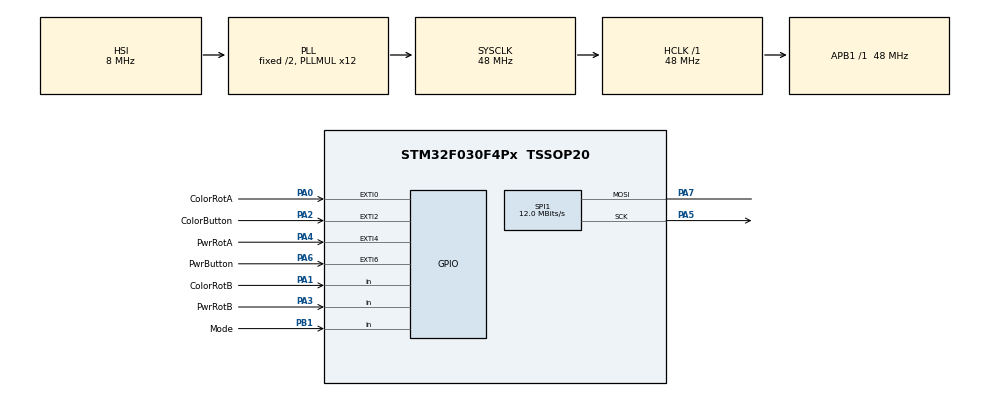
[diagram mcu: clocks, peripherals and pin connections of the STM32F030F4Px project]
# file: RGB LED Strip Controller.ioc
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Dma.Request0=SPI1_TX
Dma.SPI1_TX.0.Direction=DMA_MEMORY_TO_PERIPH
Dma.SPI1_TX.0.Instance=DMA1_Channel3
Dma.SPI1_TX.0.MemDataAlignment=DMA_MDATAALIGN_BYTE
Dma.SPI1_TX.0.MemInc=DMA_MINC_ENABLE
Dma.SPI1_TX.0.Mode=DMA_NORMAL
Dma.SPI1_TX.0.PeriphDataAlignment=DMA_PDATAALIGN_BYTE
Dma.SPI1_TX.0.PeriphInc=DMA_PINC_DISABLE
Dma.SPI1_TX.0.Priority=DMA_PRIORITY_HIGH
Mcu.Family=STM32F0
Mcu.Name=STM32F030F4Px
Mcu.Package=TSSOP20
NVIC.DMA1_Channel2_3_IRQn=true\:0\:0\:false\:false\:true\:true
NVIC.EXTI0_1_IRQn=true\:0\:0\:false\:false\:true\:true
NVIC.EXTI2_3_IRQn=true\:0\:0\:false\:false\:true\:true
NVIC.EXTI4_15_IRQn=true\:0\:0\:false\:false\:true\:true
PA0.GPIO_Label=ColorRotA
PA0.GPIO_ModeDefaultEXTI=GPIO_MODE_IT_RISING
PA0.Signal=GPXTI0
PA1.GPIO_Label=ColorRotB
PA1.Signal=GPIO_Input
PA13.Mode=Serial_Wire
PA13.Signal=SYS_SWDIO
PA14.Mode=Serial_Wire
PA14.Signal=SYS_SWCLK
PA2.GPIO_Label=ColorButton
PA2.GPIO_ModeDefaultEXTI=GPIO_MODE_IT_RISING
PA2.Signal=GPXTI2
PA3.GPIO_Label=PwrRotB
PA3.Signal=GPIO_Input
PA4.GPIO_Label=PwrRotA
PA4.GPIO_ModeDefaultEXTI=GPIO_MODE_IT_RISING
PA4.Signal=GPXTI4
PA5.Mode=Simplex_Bidirectional_Master
PA5.Signal=SPI1_SCK
PA6.GPIO_Label=PwrButton
PA6.Signal=GPXTI6
PA7.Mode=Simplex_Bidirectional_Master
PA7.Signal=SPI1_MOSI
PB1.GPIO_Label=Mode
PB1.Signal=GPIO_Input
ProjectManager.HeapSize=0x400
ProjectManager.StackSize=0x200
ProjectManager.TargetToolchain=MDK-ARM V5
RCC.AHBFreq_Value=48000000
RCC.APB1Freq_Value=48000000
RCC.APB1TimFreq_Value=48000000
RCC.HCLKFreq_Value=48000000
RCC.PLLMUL=RCC_PLL_MUL12
RCC.SYSCLKFreq_VALUE=48000000
RCC.SYSCLKSource=RCC_SYSCLKSOURCE_PLLCLK
SPI1.BaudRatePrescaler=SPI_BAUDRATEPRESCALER_4
SPI1.CalculateBaudRate=12.0 MBits/s
SPI1.DataSize=SPI_DATASIZE_8BIT
SPI1.Direction=SPI_DIRECTION_1LINE
SPI1.Mode=SPI_MODE_MASTER
SPI1.NSSPMode=SPI_NSS_PULSE_DISABLE
SPI1.VirtualType=VM_MASTER
board=RGB LED Strip Controller

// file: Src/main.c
/* USER CODE BEGIN Header */
/**
  ******************************************************************************
  * @file           : main.c
  * @brief          : Main program body
  ******************************************************************************
  ** This notice applies to any and all portions of this file
  * that are not between comment pairs USER CODE BEGIN and
  * USER CODE END. Other portions of this file, whether
  * inserted by the user or by software development tools
  * are owned by their respective copyright owners.
  *
  * COPYRIGHT(c) 2019 STMicroelectronics
  *
  * Redistribution and use in source and binary forms, with or without modification,
  * are permitted provided that the following conditions are met:
  *   1. Redistributions of source code must retain the above copyright notice,
  *      this list of conditions and the following disclaimer.
  *   2. Redistributions in binary form must reproduce the above copyright notice,
  *      this list of conditions and the following disclaimer in the documentation
  *      and/or other materials provided with the distribution.
  *   3. Neither the name of STMicroelectronics nor the names of its contributors
  *      may be used to endorse or promote products derived from this software
  *      without specific prior written permission.
  *
  * THIS SOFTWARE IS PROVIDED BY THE COPYRIGHT HOLDERS AND CONTRIBUTORS "AS IS"
  * AND ANY EXPRESS OR IMPLIED WARRANTIES, INCLUDING, BUT NOT LIMITED TO, THE
  * IMPLIED WARRANTIES OF MERCHANTABILITY AND FITNESS FOR A PARTICULAR PURPOSE ARE
  * DISCLAIMED. IN NO EVENT SHALL THE COPYRIGHT HOLDER OR CONTRIBUTORS BE LIABLE
  * FOR ANY DIRECT, INDIRECT, INCIDENTAL, SPECIAL, EXEMPLARY, OR CONSEQUENTIAL
  * DAMAGES (INCLUDING, BUT NOT LIMITED TO, PROCUREMENT OF SUBSTITUTE GOODS OR
  * SERVICES; LOSS OF USE, DATA, OR PROFITS; OR BUSINESS INTERRUPTION) HOWEVER
  * CAUSED AND ON ANY THEORY OF LIABILITY, WHETHER IN CONTRACT, STRICT LIABILITY,
  * OR TORT (INCLUDING NEGLIGENCE OR OTHERWISE) ARISING IN ANY WAY OUT OF THE USE
  * OF THIS SOFTWARE, EVEN IF ADVISED OF THE POSSIBILITY OF SUCH DAMAGE.
  *
  ******************************************************************************
  */
/* USER CODE END Header */

#include "main.h"

/* USER CODE BEGIN PTD */
typedef enum
{
  NEO_PIXEL = 0,
  DOT_STAR
} ModeTypedef;
/* USER CODE END PTD */

/* USER CODE BEGIN PD */
#define NLEDS 288
#define BUFFER_NUMBER 2
#define GetColorRotB() (GPIOA->IDR & 0x00000002)
#define GetPwrRotB() (GPIOA->IDR & 0x00000008)
#define HUE_INCREMENT 2
#define INTENSITY_INCREMENT 5

#define ABS(x) (((x)<0)?-(x):(x))
/* USER CODE END PD */

SPI_HandleTypeDef hspi1;
DMA_HandleTypeDef hdma_spi1_tx;

/* USER CODE BEGIN PV */
/* Private variables ---------------------------------------------------------*/
volatile int LedIntensity = 0; // 0-100
volatile int LedHue = 0;       // 0-359
volatile uint32_t DisplayWhite = 1;
volatile int HasColorChanged = 1;

// Set as a global variable to be included in memory estimation
uint32_t colors_buffer[BUFFER_NUMBER * (NLEDS + 2)];
/* USER CODE END PV */

void SystemClock_Config(void);
static void MX_GPIO_Init(void);
static void MX_DMA_Init(void);
static void MX_SPI1_Init(void);
/* USER CODE BEGIN PFP */
/* Private function prototypes -----------------------------------------------*/
uint32_t RGB(uint8_t R, uint8_t G, uint8_t B);
uint32_t Hue2RGB(int H, int V);
void TransmitNeopixel(uint32_t * colors, uint32_t length);
void TransmitDotstar(uint32_t * colors, uint32_t length);
/* USER CODE END PFP */

/* USER CODE BEGIN 0 */
// Initializes peripherals to read PB1 and return the mode
ModeTypedef ReadMode(void)
{
  RCC_ClkInitTypeDef RCC_ClkInitStruct = {0};
  GPIO_InitTypeDef GPIO_InitStruct = {0};

  RCC_ClkInitStruct.ClockType = RCC_CLOCKTYPE_HCLK|RCC_CLOCKTYPE_SYSCLK|RCC_CLOCKTYPE_PCLK1;
  RCC_ClkInitStruct.SYSCLKSource = RCC_SYSCLKSOURCE_HSI;
  RCC_ClkInitStruct.AHBCLKDivider = RCC_SYSCLK_DIV1;
  RCC_ClkInitStruct.APB1CLKDivider = RCC_HCLK_DIV1;
  HAL_RCC_ClockConfig(&RCC_ClkInitStruct, FLASH_LATENCY_1);

  __HAL_RCC_GPIOB_CLK_ENABLE();
  GPIO_InitStruct.Pin = Mode_Pin;
  GPIO_InitStruct.Mode = GPIO_MODE_INPUT;
  GPIO_InitStruct.Pull = GPIO_NOPULL;
  HAL_GPIO_Init(Mode_GPIO_Port, &GPIO_InitStruct);

  if(HAL_GPIO_ReadPin(Mode_GPIO_Port, Mode_Pin) == GPIO_PIN_RESET)
    return NEO_PIXEL;
  else
    return DOT_STAR;
}
/* USER CODE END 0 */

int main(void)
{
  /* USER CODE BEGIN 1 */
  uint32_t color = 0;
  uint32_t * colors_arrays[BUFFER_NUMBER];
  int current_buffer = 0;
  ModeTypedef led_mode = ReadMode();
  if(led_mode == DOT_STAR)
  {
    for(int i = 0; i < BUFFER_NUMBER; i++)
    {
      colors_arrays[i] = colors_buffer + i * (NLEDS + 2) + 1;
      colors_buffer[i * (NLEDS + 2)] = 0x00000000;
      colors_buffer[(i + 1) * (NLEDS + 2) - 1] = 0xFFFFFFFF;
    }
  }
  else
  {
    for(int i = 0; i < BUFFER_NUMBER; i++)
    {
      colors_arrays[i] = colors_buffer + i * NLEDS;
    }
  }

  for(int b = 0; b < BUFFER_NUMBER; b++)
  {
    for(int i = 0; i < NLEDS; i++)
    {
      colors_arrays[b][i] = color;
    }
  }

  /* USER CODE END 1 */

  /* MCU Configuration--------------------------------------------------------*/

  /* Reset of all peripherals, Initializes the Flash interface and the Systick. */
  HAL_Init();

  /* Configure the system clock */
  SystemClock_Config();

  /* Initialize all configured peripherals */
  MX_GPIO_Init();
  MX_DMA_Init();
  MX_SPI1_Init();

  /* Infinite loop */
  while (1)
  {

    /* USER CODE BEGIN 3 */
    if(HasColorChanged)
    {
      HasColorChanged = 0;
      if(DisplayWhite)
      {
        int color_intensity = (LedIntensity * 255) / 100;
        color = RGB(color_intensity, color_intensity, color_intensity);
      }
      else
        color = Hue2RGB(LedHue, LedIntensity);

      for(int i = 0; i < NLEDS; i++)
        colors_arrays[current_buffer][i] = color;
      if(led_mode == DOT_STAR)
        TransmitDotstar(colors_arrays[current_buffer] - 1, NLEDS + 2);
      else
        TransmitNeopixel(colors_arrays[current_buffer], NLEDS);
      current_buffer = (current_buffer + 1) % BUFFER_NUMBER;
    }
  }
  /* USER CODE END 3 */
}

void SystemClock_Config(void)
{
  RCC_OscInitTypeDef RCC_OscInitStruct = {0};
  RCC_ClkInitTypeDef RCC_ClkInitStruct = {0};

  /**Initializes the CPU, AHB and APB busses clocks
  */
  RCC_OscInitStruct.OscillatorType = RCC_OSCILLATORTYPE_HSI;
  RCC_OscInitStruct.HSIState = RCC_HSI_ON;
  RCC_OscInitStruct.HSICalibrationValue = RCC_HSICALIBRATION_DEFAULT;
  RCC_OscInitStruct.PLL.PLLState = RCC_PLL_ON;
  RCC_OscInitStruct.PLL.PLLSource = RCC_PLLSOURCE_HSI;
  RCC_OscInitStruct.PLL.PLLMUL = RCC_PLL_MUL12;
  RCC_OscInitStruct.PLL.PREDIV = RCC_PREDIV_DIV1;
  if (HAL_RCC_OscConfig(&RCC_OscInitStruct) != HAL_OK)
  {
    Error_Handler();
  }
  /**Initializes the CPU, AHB and APB busses clocks
  */
  RCC_ClkInitStruct.ClockType = RCC_CLOCKTYPE_HCLK|RCC_CLOCKTYPE_SYSCLK
                              |RCC_CLOCKTYPE_PCLK1;
  RCC_ClkInitStruct.SYSCLKSource = RCC_SYSCLKSOURCE_PLLCLK;
  RCC_ClkInitStruct.AHBCLKDivider = RCC_SYSCLK_DIV1;
  RCC_ClkInitStruct.APB1CLKDivider = RCC_HCLK_DIV1;

  if (HAL_RCC_ClockConfig(&RCC_ClkInitStruct, FLASH_LATENCY_1) != HAL_OK)
  {
    Error_Handler();
  }
}

static void MX_SPI1_Init(void)
{

  /* SPI1 parameter configuration*/
  hspi1.Instance = SPI1;
  hspi1.Init.Mode = SPI_MODE_MASTER;
  hspi1.Init.Direction = SPI_DIRECTION_1LINE;
  hspi1.Init.DataSize = SPI_DATASIZE_8BIT;
  hspi1.Init.CLKPolarity = SPI_POLARITY_LOW;
  hspi1.Init.CLKPhase = SPI_PHASE_1EDGE;
  hspi1.Init.NSS = SPI_NSS_SOFT;
  hspi1.Init.BaudRatePrescaler = SPI_BAUDRATEPRESCALER_4;
  hspi1.Init.FirstBit = SPI_FIRSTBIT_MSB;
  hspi1.Init.TIMode = SPI_TIMODE_DISABLE;
  hspi1.Init.CRCCalculation = SPI_CRCCALCULATION_DISABLE;
  hspi1.Init.CRCPolynomial = 7;
  hspi1.Init.CRCLength = SPI_CRC_LENGTH_DATASIZE;
  hspi1.Init.NSSPMode = SPI_NSS_PULSE_DISABLE;
  if (HAL_SPI_Init(&hspi1) != HAL_OK)
  {
    Error_Handler();
  }

}

static void MX_DMA_Init(void)
{
  /* DMA controller clock enable */
  __HAL_RCC_DMA1_CLK_ENABLE();

  /* DMA interrupt init */
  /* DMA1_Channel2_3_IRQn interrupt configuration */
  HAL_NVIC_SetPriority(DMA1_Channel2_3_IRQn, 0, 0);
  HAL_NVIC_EnableIRQ(DMA1_Channel2_3_IRQn);

}

static void MX_GPIO_Init(void)
{
  GPIO_InitTypeDef GPIO_InitStruct = {0};

  /* GPIO Ports Clock Enable */
  __HAL_RCC_GPIOA_CLK_ENABLE();
  __HAL_RCC_GPIOB_CLK_ENABLE();

  /*Configure GPIO pins : ColorRotA_Pin ColorButton_Pin PwrRotA_Pin PwrButton_Pin */
  GPIO_InitStruct.Pin = ColorRotA_Pin|ColorButton_Pin|PwrRotA_Pin|PwrButton_Pin;
  GPIO_InitStruct.Mode = GPIO_MODE_IT_RISING;
  GPIO_InitStruct.Pull = GPIO_NOPULL;
  HAL_GPIO_Init(GPIOA, &GPIO_InitStruct);

  /*Configure GPIO pins : ColorRotB_Pin PwrRotB_Pin */
  GPIO_InitStruct.Pin = ColorRotB_Pin|PwrRotB_Pin;
  GPIO_InitStruct.Mode = GPIO_MODE_INPUT;
  GPIO_InitStruct.Pull = GPIO_NOPULL;
  HAL_GPIO_Init(GPIOA, &GPIO_InitStruct);

  /*Configure GPIO pin : Mode_Pin */
  GPIO_InitStruct.Pin = Mode_Pin;
  GPIO_InitStruct.Mode = GPIO_MODE_INPUT;
  GPIO_InitStruct.Pull = GPIO_NOPULL;
  HAL_GPIO_Init(Mode_GPIO_Port, &GPIO_InitStruct);

  /* EXTI interrupt init*/
  HAL_NVIC_SetPriority(EXTI0_1_IRQn, 0, 0);
  HAL_NVIC_EnableIRQ(EXTI0_1_IRQn);

  HAL_NVIC_SetPriority(EXTI2_3_IRQn, 0, 0);
  HAL_NVIC_EnableIRQ(EXTI2_3_IRQn);

  HAL_NVIC_SetPriority(EXTI4_15_IRQn, 0, 0);
  HAL_NVIC_EnableIRQ(EXTI4_15_IRQn);

}

/* USER CODE BEGIN 4 */
uint32_t RGB(uint8_t R, uint8_t G, uint8_t B)
{
    return __REV(0xFF000000 | (uint32_t)B << 16 | (uint32_t)G << 8 | (uint32_t)R);
}

uint32_t Hue2RGB(int H, int V)
{
    // H = [0:359]
    // V = [0:100]
    if(V > 100)
        V = 100;
    if(V < 0)
        V = 0;
    H %= 360;
    if(H < 0)
      H += 360;
    int X = ((600 - ABS(((H * 10) % 1200) - 600)) * V * 255) / 60000;
    V = (V * 255) / 100;
    if(X > 255)
      X = 255;
    int S = H / 60;
    switch(S)
    {
        case 0:
            return RGB((uint8_t)V, (uint8_t)X, 0);
        case 1:
            return RGB((uint8_t)X, (uint8_t)V, 0);
        case 2:
            return RGB(0, (uint8_t)V, (uint8_t)X);
        case 3:
            return RGB(0, (uint8_t)X, (uint8_t)V);
        case 4:
            return RGB((uint8_t)X, 0, (uint8_t)V);
        case 5:
            return RGB((uint8_t)V, 0, (uint8_t)X);
        default:
            return RGB(0, 0, 0);
    }
}

void TransmitNeopixel(uint32_t * colors, uint32_t length)
{
}

void TransmitDotstar(uint32_t * colors, uint32_t length)
{
	HAL_StatusTypeDef spi_status;
	do
	{
		spi_status = HAL_SPI_Transmit_DMA(&hspi1, (uint8_t *)colors, length * 4);
	}
	while(spi_status == HAL_BUSY);
}

void HAL_GPIO_EXTI_Callback(uint16_t GPIO_Pin)
{
	switch(GPIO_Pin)
	{
		case ColorRotA_Pin:
			DisplayWhite = 0;
			if(GetColorRotB())
				LedHue += HUE_INCREMENT;
			else
				LedHue -= HUE_INCREMENT;
      LedHue %= 360;
      if(LedHue < 0)
        LedHue += 360;
			break;
		case ColorButton_Pin:
			if(DisplayWhite)
				DisplayWhite = 0;
			else
				DisplayWhite = 1;
			break;
		case PwrRotA_Pin:
			if(GetPwrRotB())
				LedIntensity += INTENSITY_INCREMENT;
			else
				LedIntensity -= INTENSITY_INCREMENT;
			if(LedIntensity > 100)
				LedIntensity = 100;
			if(LedIntensity < 0)
				LedIntensity = 0;
			break;
		case PwrButton_Pin:
			if(LedIntensity > 0)
				LedIntensity = 0;
			else
				LedIntensity = 100;
			break;
	}
  HasColorChanged = 1;
}
/* USER CODE END 4 */

void Error_Handler(void)
{
  while(1)
  {
  }
}

/************************ (C) COPYRIGHT STMicroelectronics *****END OF FILE****/
